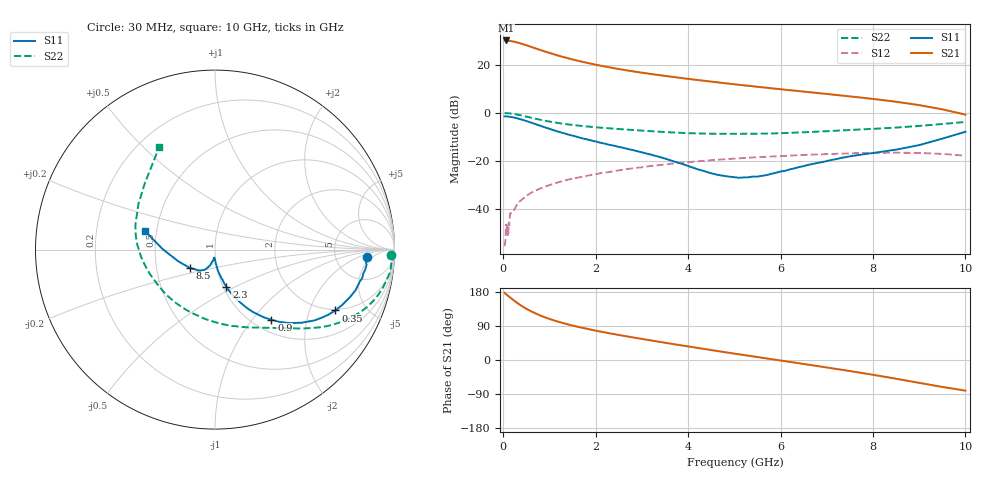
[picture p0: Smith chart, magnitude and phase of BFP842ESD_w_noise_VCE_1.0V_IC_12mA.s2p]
! Infineon Technologies  Discrete & RF Semiconductors
! BFP842ESD
! VCE =  1.0 V,  IC =  12 mA
! Common Emitter S-Parameters:  May 2012
# GHz  S  MA  R  50
!  f  S11  S21  S12  S22
! GHz  MAG  ANG  MAG  ANG  MAG  ANG  MAG  ANG
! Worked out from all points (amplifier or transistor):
!   99 points, 30 MHz to 10 GHz, reference 50 ohm
!   highest |S21| = 30.1 dB at 60 MHz (marker M1)
!   |S21| within 3 dB of that: start of sweep to 654.7 MHz
!   unconditionally stable (mu >= 1): 2.426 GHz to end of sweep
!   at 350 MHz: K = 0.32, MSG = 33.0 dB, |S12| = -36.9 dB
!   at 3.5 GHz: K = 1.09, MAG = 16.6 dB, |S12| = -21.5 dB
!   at 10 GHz: K = 2.01, MAG = 2.8 dB, |S12| = -17.8 dB
!   lowest NFmin = 0.63 dB at 450 MHz
!   S11 on the Smith chart (normalised r, x): 30 MHz: 11, -3; 350 MHz: 1.95, -3.04; 900 MHz: 1.20, -1.26; 2.3 GHz: 1.04, -0.45; 8.5 GHz: 0.74, -0.16; 10 GHz: 0.43, +0.11
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0.03  0.8498 -2.8  31.88 177.1  0.0017 -94.1  0.9828 -1.6
0.05  0.8422 -4.1  31.64 174.5  0.0024 171.8  0.9798 -2.7
0.06  0.8451 -5.0  32.13 173.6  0.0048 101.0  0.9942 -3.3
0.09  0.8444 -7.6  31.39 171.0  0.0046 104.6  0.9855 -5.4
0.11  0.8367 -9.2  31.82 168.6  0.003 83.1  0.983 -6.7
0.15  0.8269 -12.3  31.33 164.8  0.0082 74.1  0.9745 -9.3
0.25  0.7955 -19.7  30.1 155.4  0.0102 80.6  0.9437 -15.5
0.35  0.7515 -26.8  28.37 146.7  0.0143 73.7  0.9041 -20.8
0.45  0.7043 -32.7  26.46 138.8  0.0171 70.0  0.8603 -25.3
0.6  0.631 -40.2  23.69 128.7  0.0218 67.5  0.7967 -31.0
0.8  0.5421 -48.1  20.4 117.4  0.0268 63.9  0.7225 -36.9
0.9  0.5022 -51.2  18.98 112.7  0.0294 61.6  0.6899 -39.3
1.2  0.4066 -58.7  15.48 100.7  0.0364 57.6  0.6153 -45.4
1.4  0.3574 -62.2  13.72 94.0  0.0411 55.6  0.5781 -49.0
1.7  0.2983 -66.4  11.64 85.3  0.047 53.1  0.5358 -54.2
2.3  0.217 -73.0  8.871 70.5  0.0593 47.3  0.4792 -65.0
3.4  0.1201 -81.8  6.069 47.6  0.0831 35.2  0.406 -89.1
4.2  0.0677 -88.2  4.846 31.9  0.0982 25.0  0.3749 -110.5
5.1  0.0449 -94.1  3.851 15.1  0.1139 13.5  0.3681 -133.8
6.7  0.0871 -106.3  2.657 -14.2  0.1362 -8.5  0.4041 -169.9
8.5  0.1726 -143.3  1.709 -49.4  0.1492 -38.3  0.4967 149.2
10  0.4059 165.0  0.923 -80.8  0.1292 -68.6  0.6499 118.6
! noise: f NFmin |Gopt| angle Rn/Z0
0.45  0.63  0.11  0  0.11
0.9  0.64  0.11  2  0.1
1.5  0.65  0.11  6  0.09
1.9  0.66  0.1  15  0.08
2.4  0.67  0.08  19  0.08
3.5  0.74  0.03  146  0.08
4  0.78  0.05  -160  0.07
5  0.85  0.08  -132  0.07
5.5  0.95  0.1  -127  0.08
6  1.05  0.11  -121  0.1
